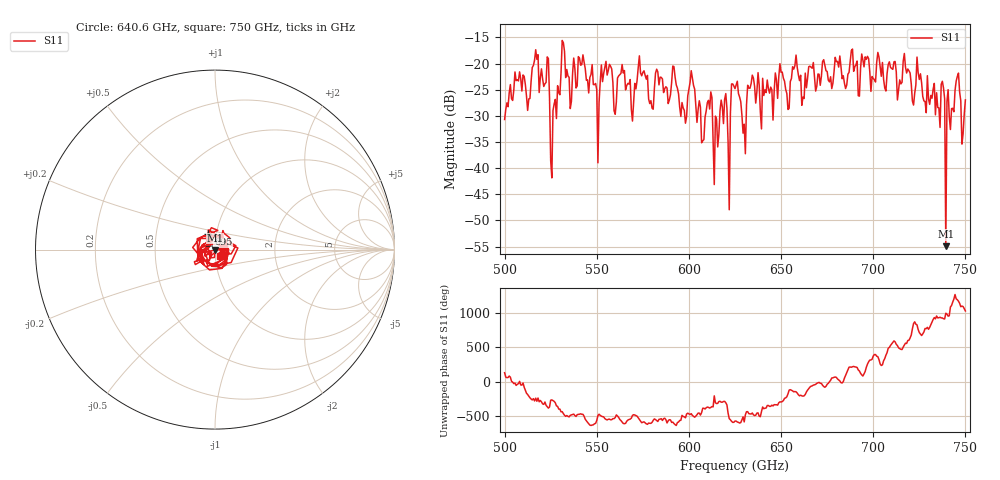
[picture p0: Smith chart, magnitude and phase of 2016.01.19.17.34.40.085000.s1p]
!Created with skrf (http://scikit-rf.org).
# GHz S RI R 50.0
!freq ReS11 ImS11
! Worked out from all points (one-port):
!   401 points, 500 GHz to 750 GHz, reference 50 ohm
!   lowest |S11| = -54.9 dB at 739.4 GHz (marker M1), VSWR 1.00, Z = 50 - j0.177 ohm
!   |S11| at or under -10 dB: start of sweep to end of sweep
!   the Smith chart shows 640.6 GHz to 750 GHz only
!   S11 on the Smith chart (normalised r, x): 640.6 GHz: 1.08, -0.06; 695 GHz: 0.92, +0.16; 750 GHz: 1.06, -0.07
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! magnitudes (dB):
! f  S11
! 500 GHz  -30.7
! 506.9 GHz  -23.1
! 513.1 GHz  -26.8
! 516.9 GHz  -17.3
! 523.1 GHz  -18.7
! 526.2 GHz  -29.0
! 531.2 GHz  -15.6
! 550 GHz  -25.0
! 562.5 GHz  -22.1
! 593.8 GHz  -24.7
! 597.5 GHz  -29.0
! 601.9 GHz  -22.8
! 608.1 GHz  -34.5
! 611.2 GHz  -28.7
! 614.4 GHz  -30.0
! 618.8 GHz  -31.5
! 621.9 GHz  -48.0
! 625 GHz  -24.8
! 630 GHz  -31.6
! 633.1 GHz  -24.7
! 640.6 GHz  -26.1
! 656.2 GHz  -20.6
! 687.5 GHz  -19.7
! 695 GHz  -20.6
! 718.8 GHz  -21.0
! 739.4 GHz  -54.9
! 745.6 GHz  -22.5
! 750 GHz  -27.0
